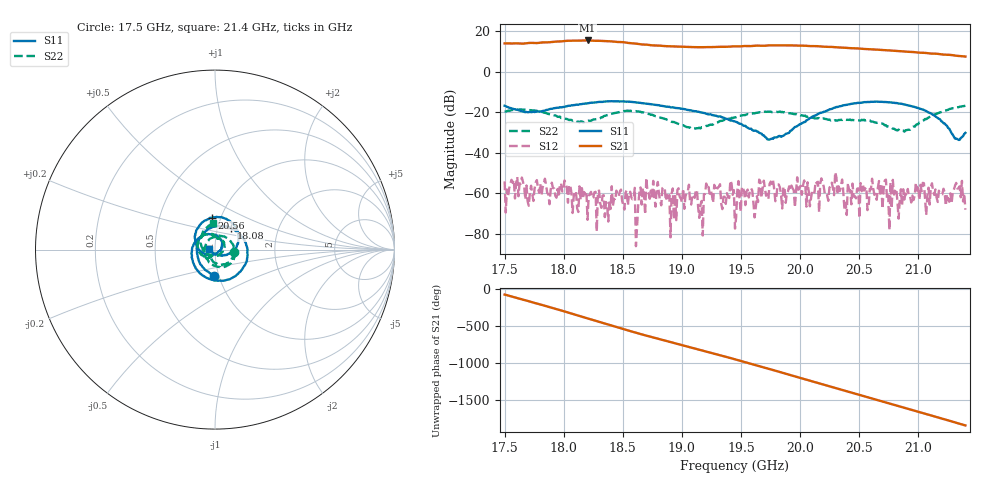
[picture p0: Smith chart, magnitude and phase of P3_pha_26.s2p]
!Created with skrf (http://scikit-rf.org).
# GHz S RI R 50.0
!freq ReS11 ImS11 ReS21 ImS21 ReS12 ImS12 ReS22 ImS22
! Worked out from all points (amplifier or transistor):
!   401 points, 17.5 GHz to 21.4 GHz, reference 50 ohm
!   highest |S21| = 15.5 dB at 18.2 GHz (marker M1)
!   |S21| within 3 dB of that: start of sweep to 18.94 GHz (the widest 1 of 2)
!   unconditionally stable (mu >= 1): start of sweep to end of sweep
!   at 18.14 GHz: K = 115.12, MAG = 15.6 dB, |S12| = -63.0 dB
!   at 19.45 GHz: K = 858.70, MAG = 12.6 dB, |S12| = -77.3 dB
!   at 21.4 GHz: K = 518.26, MAG = 7.6 dB, |S12| = -68.0 dB
!   S11 on the Smith chart (normalised r, x): 17.5 GHz: 0.95, -0.28; 18.08 GHz: 1.16, +0.28; 20.56 GHz: 0.91, +0.33; 21.4 GHz: 0.94, +0.00
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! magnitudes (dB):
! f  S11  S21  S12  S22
! 17.5 GHz  -16.7  14.0  -54.1  -19.6
! 18.08 GHz  -16.5  15.3  -69.7  -24.1
! 18.15 GHz  -15.9  15.5  -56.3  -24.5
! 18.2 GHz  -15.5  15.5  -73.0  -24.2
! 18.58 GHz  -14.9  14.1  -62.9  -19.3
! 18.61 GHz  -15.2  13.9  -86.0  -19.4
! 18.66 GHz  -15.5  13.5  -65.5  -20.0
! 18.81 GHz  -16.5  13.0  -60.2  -22.4
! 19.11 GHz  -19.4  12.2  -62.2  -27.9
! 19.16 GHz  -20.0  12.1  -65.7  -27.9
! 19.21 GHz  -20.7  12.2  -55.1  -26.7
! 19.3 GHz  -22.0  12.3  -57.0  -24.9
! 19.45 GHz  -24.5  12.6  -77.3  -22.5
! 19.74 GHz  -33.4  13.1  -55.4  -19.6
! 20.1 GHz  -22.2  12.7  -58.4  -22.6
! 20.29 GHz  -17.8  12.2  -60.9  -24.2
! 20.39 GHz  -16.3  11.9  -64.6  -23.7
! 20.56 GHz  -15.0  11.2  -56.9  -23.8
! 20.73 GHz  -14.9  10.6  -53.2  -26.3
! 20.76 GHz  -15.1  10.5  -78.1  -27.2
! 21.33 GHz  -33.2  7.9  -57.6  -17.5
! 21.4 GHz  -30.1  7.5  -68.0  -16.7
